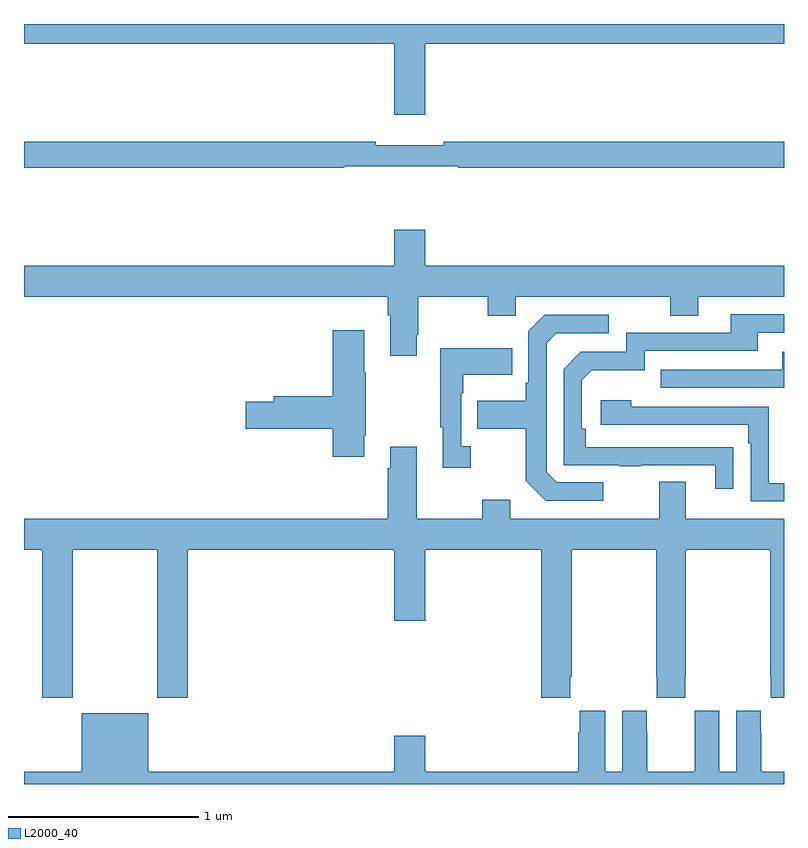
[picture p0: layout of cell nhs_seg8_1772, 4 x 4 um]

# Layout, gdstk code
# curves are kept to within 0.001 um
import gdstk
lib = gdstk.Library(unit=1e-6, precision=1e-09)
def P(c, l, *ps):  # polygons
    for p in ps: c.add(gdstk.Polygon(p, *l))
L2000_40 = (2000, 40)

nhs_seg8_1772 = lib.new_cell('nhs_seg8_1772')
P(nhs_seg8_1772, L2000_40, [(225.112,1153.796),(227,1153.796),(227,1153.9),(223,1153.9),(223,1153.796),(224.948,1153.796),(224.948,1153.422),(225.112,1153.422)],
  [(224.686,1153.152),(225.286,1153.152),(225.286,1153.144),(227,1153.144),(227,1153.28),(225.208,1153.28),(225.208,1153.261),(224.852,1153.261),(224.852,1153.28),(223,1153.28),(223,1153.144),(224.686,1153.144)],
  [(225.067,1152.265),(225.075,1152.265),(225.075,1152.464),(225.442,1152.464),(225.442,1152.365),(225.588,1152.365),(225.588,1152.464),(226.402,1152.464),(226.402,1152.365),(226.549,1152.365),(226.549,1152.464),(227,1152.464),(227,1152.628),(225.112,1152.628),(225.112,1152.817),(224.948,1152.817),(224.948,1152.628),(223,1152.628),(223,1152.464),(224.915,1152.464),(224.915,1152.368),(224.927,1152.368),(224.927,1152.153),(225.067,1152.153)],
  [(226.733,1151.672),(225.956,1151.673),(225.956,1151.77),(225.936,1151.77),(225.936,1152.024),(225.989,1152.077),(226.266,1152.077),(226.266,1152.18),(226.861,1152.18),(226.861,1152.276),(227,1152.276),(227,1152.372),(226.721,1152.372),(226.721,1152.276),(226.17,1152.276),(226.17,1152.174),(225.93,1152.174),(225.84,1152.084),(225.84,1151.577),(226.135,1151.577),(226.135,1151.572),(226.247,1151.572),(226.247,1151.577),(226.637,1151.577),(226.637,1151.454),(226.733,1151.454)],
  [(226.048,1151.487),(225.804,1151.487),(225.75,1151.541),(225.75,1152.222),(225.801,1152.273),(226.078,1152.273),(226.078,1152.369),(225.741,1152.369),(225.654,1152.282),(225.654,1152.013),(225.642,1152.013),(225.642,1151.917),(225.385,1151.917),(225.385,1151.77),(225.642,1151.77),(225.642,1151.497),(225.747,1151.391),(226.048,1151.391)],
  [(224.791,1151.734),(224.799,1151.734),(224.799,1152.065),(224.791,1152.065),(224.791,1152.289),(224.624,1152.289),(224.624,1151.942),(224.315,1151.942),(224.315,1151.912),(224.166,1151.912),(224.166,1151.77),(224.624,1151.77),(224.624,1151.622),(224.791,1151.622)],
  [(225.352,1151.678),(225.3,1151.678),(225.3,1151.957),(225.313,1151.957),(225.313,1152.053),(225.569,1152.053),(225.569,1152.193),(225.192,1152.193),(225.192,1151.777),(225.203,1151.777),(225.203,1151.565),(225.352,1151.565)],
  [(227,1152.175),(226.991,1152.175),(226.991,1152.081),(226.351,1152.081),(226.351,1151.985),(227,1151.985)],
  [(227,1151.484),(226.92,1151.484),(226.92,1151.886),(226.196,1151.886),(226.196,1151.92),(226.035,1151.92),(226.035,1151.79),(226.811,1151.79),(226.811,1151.693),(226.824,1151.693),(226.824,1151.388),(227,1151.388)],
  [(223.257,1151.132),(223.702,1151.132),(223.702,1150.353),(223.862,1150.353),(223.862,1151.132),(224.948,1151.132),(224.948,1150.758),(225.112,1150.758),(225.112,1151.132),(225.722,1151.132),(225.722,1150.353),(225.875,1150.353),(225.875,1150.465),(225.882,1150.465),(225.882,1151.132),(226.327,1151.132),(226.327,1150.465),(226.329,1150.465),(226.329,1150.353),(226.479,1150.353),(226.479,1150.465),(226.482,1150.465),(226.482,1151.132),(226.927,1151.132),(226.927,1150.465),(226.929,1150.465),(226.929,1150.353),(227,1150.353),(227,1151.296),(226.483,1151.296),(226.483,1151.491),(226.343,1151.491),(226.343,1151.296),(225.559,1151.296),(225.559,1151.395),(225.412,1151.395),(225.412,1151.296),(225.067,1151.296),(225.067,1151.674),(224.927,1151.674),(224.927,1151.561),(224.915,1151.561),(224.915,1151.296),(223,1151.296),(223,1151.132),(223.097,1151.132),(223.097,1150.353),(223.257,1150.353)],
  [(226.748,1150.285),(226.748,1149.964),(226.66,1149.964),(226.66,1150.285),(226.53,1150.285),(226.53,1150.172),(226.529,1150.172),(226.529,1149.964),(226.279,1149.964),(226.279,1150.172),(226.278,1150.172),(226.278,1150.285),(226.148,1150.285),(226.148,1149.964),(226.06,1149.964),(226.06,1150.285),(225.926,1150.285),(225.926,1150.172),(225.917,1150.172),(225.917,1149.964),(225.112,1149.964),(225.112,1150.153),(224.948,1150.153),(224.948,1149.964),(223.654,1149.964),(223.654,1150.273),(223.304,1150.273),(223.304,1149.964),(223,1149.964),(223,1149.9),(227,1149.9),(227,1149.964),(226.879,1149.964),(226.879,1150.172),(226.878,1150.172),(226.878,1150.285)])

lib.write_gds('nhs_seg8_1772.gds')
